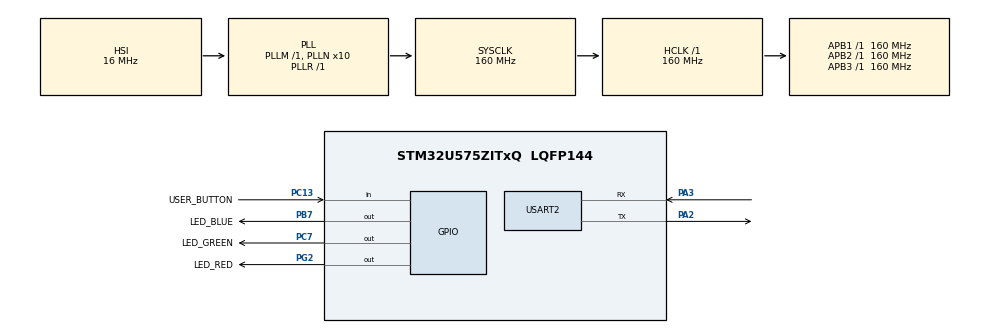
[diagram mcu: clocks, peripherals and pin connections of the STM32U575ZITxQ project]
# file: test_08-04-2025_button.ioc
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CORTEX_M33_NS.userName=CORTEX_M33
Mcu.Family=STM32U5
Mcu.Name=STM32U575ZITxQ
Mcu.Package=LQFP144
NVIC.PriorityGroup=NVIC_PRIORITYGROUP_4
NVIC.USART2_IRQn=true\:0\:0\:false\:false\:true\:true\:true\:true
PA2.GPIO_Speed=GPIO_SPEED_FREQ_HIGH
PA2.Mode=Asynchronous
PA2.Signal=USART2_TX
PA3.GPIO_Speed=GPIO_SPEED_FREQ_HIGH
PA3.Mode=Asynchronous
PA3.Signal=USART2_RX
PB7.GPIO_FM7=SYSCFG_FASTMODEPLUS_PB7
PB7.GPIO_Label=LED_BLUE
PB7.GPIO_Speed=GPIO_SPEED_FREQ_HIGH
PB7.PinState=GPIO_PIN_SET
PB7.Signal=GPIO_Output
PC13.GPIO_Label=USER_BUTTON
PC13.Signal=GPIO_Input
PC7.GPIO_Label=LED_GREEN
PC7.GPIO_Speed=GPIO_SPEED_FREQ_HIGH
PC7.PinState=GPIO_PIN_SET
PC7.Signal=GPIO_Output
PG2.GPIO_Label=LED_RED
PG2.GPIO_Speed=GPIO_SPEED_FREQ_HIGH
PG2.PinState=GPIO_PIN_SET
PG2.Signal=GPIO_Output
PH0-OSC_IN\ (PH0).Mode=HSE-External-Clock-Source
PH0-OSC_IN\ (PH0).Signal=RCC_OSC_IN
ProjectManager.HeapSize=0x200
ProjectManager.StackSize=0x400
ProjectManager.TargetToolchain=CMake
RCC.ADCFreq_Value=16000000
RCC.AHBFreq_Value=160000000
RCC.APB1Freq_Value=160000000
RCC.APB1TimFreq_Value=160000000
RCC.APB2Freq_Value=160000000
RCC.APB2TimFreq_Value=160000000
RCC.APB3Freq_Value=160000000
RCC.CortexFreq_Value=160000000
RCC.EPOD_VALUE=16000000
RCC.HCLKFreq_Value=160000000
RCC.HSE_VALUE=16000000
RCC.HSI48_VALUE=48000000
RCC.HSI_VALUE=16000000
RCC.LSE_VALUE=32768
RCC.LSIDIV_VALUE=32000
RCC.MSI_VALUE=4000000
RCC.PLL1R=1
RCC.PLLFRACN=0
RCC.PLLN=10
RCC.PLLSourceVirtual=RCC_PLLSOURCE_HSI
RCC.SYSCLKFreq_VALUE=160000000
RCC.SYSCLKSource=RCC_SYSCLKSOURCE_PLLCLK
RCC.USBFreq_Value=48000000
RCC.VCOOutputFreq_Value=160000000
USART2.VirtualMode-Asynchronous=VM_ASYNC
VP_LPBAMQUEUE_VS_QUEUE.Mode=QUEUEMODE
VP_LPBAM_VS_SIG1.Mode=SmartRun
VP_LPBAM_VS_SIG4.Mode=LPDMA1
VP_MEMORYMAP_VS_MEMORYMAP.Mode=CurAppReg
VP_PWR_VS_SECSignals.Mode=Security/Privilege
board=custom

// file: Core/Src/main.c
/* USER CODE BEGIN Header */
/**
  ******************************************************************************
  * @file           : main.c
  * @brief          : Main program body
  ******************************************************************************
  * @attention
  *
  * Copyright (c) 2025 STMicroelectronics.
  * All rights reserved.
  *
  * This software is licensed under terms that can be found in the LICENSE file
  * in the root directory of this software component.
  * If no LICENSE file comes with this software, it is provided AS-IS.
  *
  ******************************************************************************
  */
/* USER CODE END Header */
#include "main.h"

/* USER CODE BEGIN PD */
// #define PRESSED     GPIO_PIN_SET
/* USER CODE END PD */

UART_HandleTypeDef huart2;

/* USER CODE BEGIN PV */
GPIO_PinState buttonState;

uint8_t tx_buffer[22]="Welcome to MyWorld! \n\r";
uint8_t rx_indx;
uint8_t rx_data[2];
uint8_t rx_buffer[100];
uint8_t transfer_cplt;
/* USER CODE END PV */

void SystemClock_Config(void);
static void MX_GPIO_Init(void);
static void MX_USART2_UART_Init(void);

int main(void)
{

  /* MCU Configuration--------------------------------------------------------*/

  /* Reset of all peripherals, Initializes the Flash interface and the Systick. */
  HAL_Init();

  /* Configure the system clock */
  SystemClock_Config();

  /* Initialize all configured peripherals */
  MX_GPIO_Init();
  MX_USART2_UART_Init();
  /* USER CODE BEGIN 2 */
  HAL_UART_Receive_IT(&huart2, rx_data, 1);
  /* USER CODE END 2 */

  /* Infinite loop */
  while (1)
  {

    /* USER CODE BEGIN 3 */

/*     btn_state = HAL_GPIO_ReadPin(USER_BUTTON_GPIO_Port, USER_BUTTON_Pin);
    if(btn_state == 1) */
/*     printf("GPIO Pin Status: %d\n\r", (char)HAL_GPIO_ReadPin(USER_BUTTON_GPIO_Port, USER_BUTTON_Pin));
    HAL_Delay(1000); */
/*     HAL_UART_Transmit(&huart2, tx_buffer, 22, 100);
    HAL_Delay(1000); */

    if (HAL_GPIO_ReadPin(USER_BUTTON_GPIO_Port, USER_BUTTON_Pin == GPIO_PIN_SET)) //this will return the GPIO_PinState (enum/bool, either 0/1)
    {
      // turn on all LÄMPS
      HAL_GPIO_WritePin(LED_BLUE_GPIO_Port, LED_BLUE_Pin, GPIO_PIN_SET);
      HAL_GPIO_WritePin(LED_RED_GPIO_Port, LED_RED_Pin, GPIO_PIN_SET);
      HAL_GPIO_WritePin(LED_GREEN_GPIO_Port, LED_GREEN_Pin, GPIO_PIN_SET);
    } else {
      // turn off all LÄMPS
      HAL_GPIO_WritePin(LED_BLUE_GPIO_Port, LED_BLUE_Pin, GPIO_PIN_RESET);
      HAL_GPIO_WritePin(LED_RED_GPIO_Port, LED_RED_Pin, GPIO_PIN_RESET);
      HAL_GPIO_WritePin(LED_GREEN_GPIO_Port, LED_GREEN_Pin, GPIO_PIN_RESET);
    }

/*         //check if high or low
        if(HAL_GPIO_ReadPin(USER_BUTTON_GPIO_Port, USER_BUTTON_Pin) == PRESSED)
        {     //if pressed - turn LED On
          HAL_GPIO_WritePin(LED_GREEN_GPIO_Port, LED_GREEN_Pin, GPIO_PIN_SET);
          HAL_GPIO_WritePin(LED_BLUE_GPIO_Port, LED_BLUE_Pin, GPIO_PIN_SET);
          HAL_GPIO_WritePin(LED_RED_GPIO_Port, LED_RED_Pin, GPIO_PIN_SET);
        } else {
              //if not pressed - turn LED off
          HAL_GPIO_WritePin(LED_GREEN_GPIO_Port, LED_GREEN_Pin, GPIO_PIN_RESET);
          HAL_GPIO_WritePin(LED_BLUE_GPIO_Port, LED_BLUE_Pin, GPIO_PIN_RESET);
          HAL_GPIO_WritePin(LED_RED_GPIO_Port, LED_RED_Pin, GPIO_PIN_RESET);
        } */
  }
  /* USER CODE END 3 */
}

void SystemClock_Config(void)
{
  RCC_OscInitTypeDef RCC_OscInitStruct = {0};
  RCC_ClkInitTypeDef RCC_ClkInitStruct = {0};

  /** Configure the main internal regulator output voltage
  */
  if (HAL_PWREx_ControlVoltageScaling(PWR_REGULATOR_VOLTAGE_SCALE1) != HAL_OK)
  {
    Error_Handler();
  }

  /** Initializes the CPU, AHB and APB buses clocks
  */
  RCC_OscInitStruct.OscillatorType = RCC_OSCILLATORTYPE_HSI;
  RCC_OscInitStruct.HSIState = RCC_HSI_ON;
  RCC_OscInitStruct.HSICalibrationValue = RCC_HSICALIBRATION_DEFAULT;
  RCC_OscInitStruct.PLL.PLLState = RCC_PLL_ON;
  RCC_OscInitStruct.PLL.PLLSource = RCC_PLLSOURCE_HSI;
  RCC_OscInitStruct.PLL.PLLMBOOST = RCC_PLLMBOOST_DIV1;
  RCC_OscInitStruct.PLL.PLLM = 1;
  RCC_OscInitStruct.PLL.PLLN = 10;
  RCC_OscInitStruct.PLL.PLLP = 2;
  RCC_OscInitStruct.PLL.PLLQ = 2;
  RCC_OscInitStruct.PLL.PLLR = 1;
  RCC_OscInitStruct.PLL.PLLRGE = RCC_PLLVCIRANGE_1;
  RCC_OscInitStruct.PLL.PLLFRACN = 0;
  if (HAL_RCC_OscConfig(&RCC_OscInitStruct) != HAL_OK)
  {
    Error_Handler();
  }

  /** Initializes the CPU, AHB and APB buses clocks
  */
  RCC_ClkInitStruct.ClockType = RCC_CLOCKTYPE_HCLK|RCC_CLOCKTYPE_SYSCLK
                              |RCC_CLOCKTYPE_PCLK1|RCC_CLOCKTYPE_PCLK2
                              |RCC_CLOCKTYPE_PCLK3;
  RCC_ClkInitStruct.SYSCLKSource = RCC_SYSCLKSOURCE_PLLCLK;
  RCC_ClkInitStruct.AHBCLKDivider = RCC_SYSCLK_DIV1;
  RCC_ClkInitStruct.APB1CLKDivider = RCC_HCLK_DIV1;
  RCC_ClkInitStruct.APB2CLKDivider = RCC_HCLK_DIV1;
  RCC_ClkInitStruct.APB3CLKDivider = RCC_HCLK_DIV1;

  if (HAL_RCC_ClockConfig(&RCC_ClkInitStruct, FLASH_LATENCY_4) != HAL_OK)
  {
    Error_Handler();
  }
}

static void MX_USART2_UART_Init(void)
{

  huart2.Instance = USART2;
  huart2.Init.BaudRate = 115200;
  huart2.Init.WordLength = UART_WORDLENGTH_8B;
  huart2.Init.StopBits = UART_STOPBITS_1;
  huart2.Init.Parity = UART_PARITY_NONE;
  huart2.Init.Mode = UART_MODE_TX_RX;
  huart2.Init.HwFlowCtl = UART_HWCONTROL_NONE;
  huart2.Init.OverSampling = UART_OVERSAMPLING_16;
  huart2.Init.OneBitSampling = UART_ONE_BIT_SAMPLE_DISABLE;
  huart2.Init.ClockPrescaler = UART_PRESCALER_DIV1;
  huart2.AdvancedInit.AdvFeatureInit = UART_ADVFEATURE_NO_INIT;
  if (HAL_UART_Init(&huart2) != HAL_OK)
  {
    Error_Handler();
  }
  if (HAL_UARTEx_SetTxFifoThreshold(&huart2, UART_TXFIFO_THRESHOLD_1_8) != HAL_OK)
  {
    Error_Handler();
  }
  if (HAL_UARTEx_SetRxFifoThreshold(&huart2, UART_RXFIFO_THRESHOLD_1_8) != HAL_OK)
  {
    Error_Handler();
  }
  if (HAL_UARTEx_DisableFifoMode(&huart2) != HAL_OK)
  {
    Error_Handler();
  }

}

static void MX_GPIO_Init(void)
{
  GPIO_InitTypeDef GPIO_InitStruct = {0};

  /* GPIO Ports Clock Enable */
  __HAL_RCC_GPIOC_CLK_ENABLE();
  __HAL_RCC_GPIOH_CLK_ENABLE();
  __HAL_RCC_GPIOA_CLK_ENABLE();
  __HAL_RCC_GPIOG_CLK_ENABLE();
  __HAL_RCC_GPIOB_CLK_ENABLE();

  /*Configure GPIO pin Output Level */
  HAL_GPIO_WritePin(LED_RED_GPIO_Port, LED_RED_Pin, GPIO_PIN_SET);

  /*Configure GPIO pin Output Level */
  HAL_GPIO_WritePin(LED_GREEN_GPIO_Port, LED_GREEN_Pin, GPIO_PIN_SET);

  /*Configure GPIO pin Output Level */
  HAL_GPIO_WritePin(LED_BLUE_GPIO_Port, LED_BLUE_Pin, GPIO_PIN_SET);

  /*Configure GPIO pin : USER_BUTTON_Pin */
  GPIO_InitStruct.Pin = USER_BUTTON_Pin;
  GPIO_InitStruct.Mode = GPIO_MODE_INPUT;
  GPIO_InitStruct.Pull = GPIO_NOPULL;
  HAL_GPIO_Init(USER_BUTTON_GPIO_Port, &GPIO_InitStruct);

  /*Configure GPIO pin : LED_RED_Pin */
  GPIO_InitStruct.Pin = LED_RED_Pin;
  GPIO_InitStruct.Mode = GPIO_MODE_OUTPUT_PP;
  GPIO_InitStruct.Pull = GPIO_NOPULL;
  GPIO_InitStruct.Speed = GPIO_SPEED_FREQ_HIGH;
  HAL_GPIO_Init(LED_RED_GPIO_Port, &GPIO_InitStruct);

  /*Configure GPIO pin : LED_GREEN_Pin */
  GPIO_InitStruct.Pin = LED_GREEN_Pin;
  GPIO_InitStruct.Mode = GPIO_MODE_OUTPUT_PP;
  GPIO_InitStruct.Pull = GPIO_NOPULL;
  GPIO_InitStruct.Speed = GPIO_SPEED_FREQ_HIGH;
  HAL_GPIO_Init(LED_GREEN_GPIO_Port, &GPIO_InitStruct);

  /*Configure GPIO pin : LED_BLUE_Pin */
  GPIO_InitStruct.Pin = LED_BLUE_Pin;
  GPIO_InitStruct.Mode = GPIO_MODE_OUTPUT_PP;
  GPIO_InitStruct.Pull = GPIO_NOPULL;
  GPIO_InitStruct.Speed = GPIO_SPEED_FREQ_HIGH;
  HAL_GPIO_Init(LED_BLUE_GPIO_Port, &GPIO_InitStruct);

  /**/
  __HAL_SYSCFG_FASTMODEPLUS_ENABLE(SYSCFG_FASTMODEPLUS_PB7);

}

void Error_Handler(void)
{
  __disable_irq();
  while (1)
  {
  }
}
